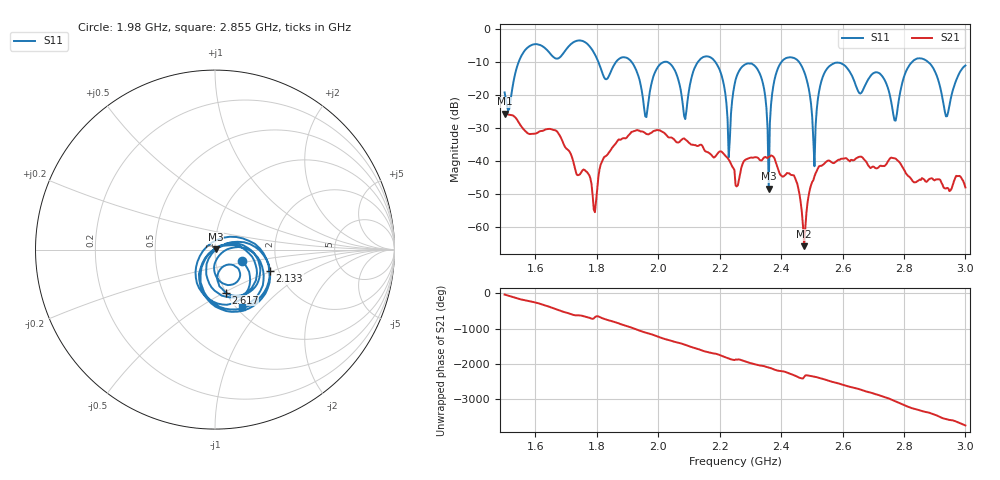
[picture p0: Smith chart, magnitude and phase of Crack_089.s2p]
# HZ S RI R 50
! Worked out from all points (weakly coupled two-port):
!   404 points, 1.5 GHz to 3 GHz, reference 50 ohm
!   highest |S21| = -25.70 dB at 1.5 GHz (marker M1); lowest = -65.8 dB at 2.475 GHz (marker M2)
!   lowest |S11| = -48.4 dB at 2.36 GHz (marker M3), VSWR 1.01, Z = 50.4 + j0.085 ohm
!   |S11| at or under -10 dB: 1.913 GHz to 2.13 GHz (217.5 MHz wide, 10.8 % of centre); 2.185 GHz to 2.402 GHz (216.9 MHz wide, 9.46 % of centre); 2.458 GHz to 2.828 GHz (369.9 MHz wide, 14 % of centre) (the widest 3 of 6)
!   S12 and S22 are empty: the file has one direction only
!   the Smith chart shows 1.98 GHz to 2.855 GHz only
!   S11 on the Smith chart (normalised r, x): 1.98 GHz: 1.34, -0.17; 2.133 GHz: 1.80, -0.48; 2.617 GHz: 1.00, -0.51; 2.855 GHz: 1.07, -0.78
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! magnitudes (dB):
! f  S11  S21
! 1.5 GHz  -19.3  -25.7
! 1.578 GHz  -5.5  -31.8
! 1.753 GHz  -3.7  -42.9
! 1.794 GHz  -7.8  -55.5
! 1.865 GHz  -9.8  -34.3
! 1.98 GHz  -15.8  -31.3
! 2.002 GHz  -11.2  -30.7
! 2.088 GHz  -27.4  -33.5
! 2.133 GHz  -9.7  -35.3
! 2.196 GHz  -11.7  -37.4
! 2.23 GHz  -38.9  -39.6
! 2.252 GHz  -15.5  -47.4
! 2.323 GHz  -12.2  -39.0
! 2.36 GHz  -48.4  -38.8
! 2.397 GHz  -10.7  -44.1
! 2.475 GHz  -13.1  -65.8
! 2.501 GHz  -26.6  -46.4
! 2.617 GHz  -12.1  -39.6
! 2.751 GHz  -18.8  -39.8
! 2.855 GHz  -9.0  -45.8
! 2.937 GHz  -26.5  -48.3
! 3 GHz  -11.2  -48.0
